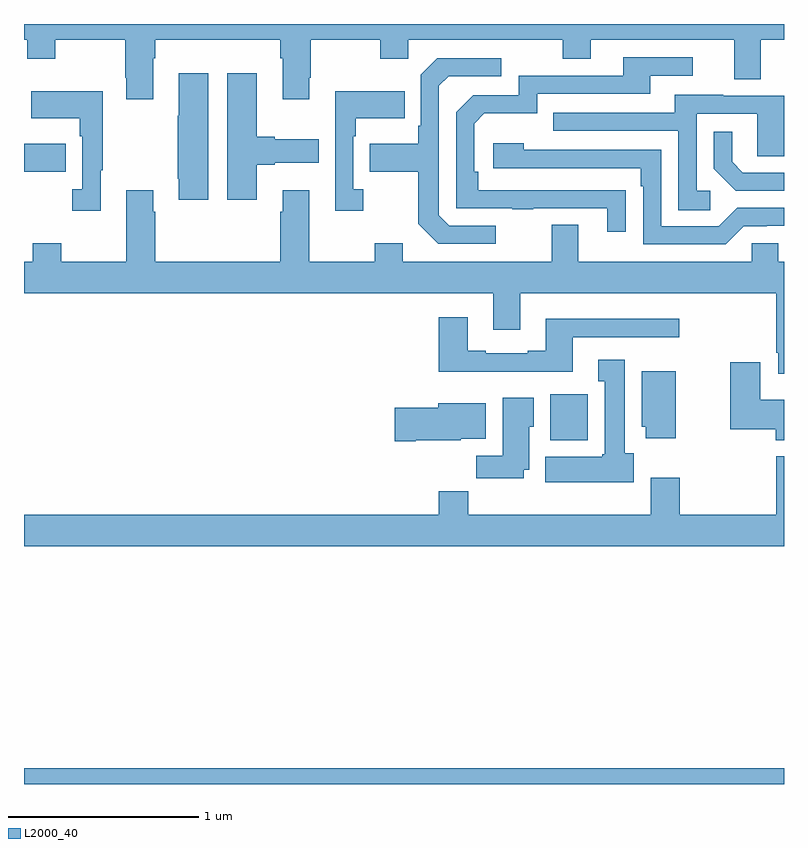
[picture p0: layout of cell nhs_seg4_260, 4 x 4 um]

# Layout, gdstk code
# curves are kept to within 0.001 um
import gdstk
lib = gdstk.Library(unit=1e-6, precision=1e-09)
def R(c, l, rs):  # rectangles x0, y0, x1, y1
    for r in rs: c.add(gdstk.rectangle(r[:2], r[2:], *l))
def P(c, l, *ps):  # polygons
    for p in ps: c.add(gdstk.Polygon(p, *l))
L2000_40 = (2000, 40)

nhs_seg4_260 = lib.new_cell('nhs_seg4_260')
R(nhs_seg4_260, L2000_40, [(123,796.9,127,796.984), (125.771,798.71,125.968,798.952), (123,800.122,123.221,800.269)])
P(nhs_seg4_260, L2000_40, [(123.679,800.72),(123.692,800.72),(123.692,800.816),(124.349,800.816),(124.349,800.72),(124.361,800.72),(124.361,800.505),(124.501,800.505),(124.501,800.617),(124.509,800.617),(124.509,800.816),(124.876,800.816),(124.876,800.717),(125.022,800.717),(125.022,800.816),(125.836,800.816),(125.836,800.717),(125.983,800.717),(125.983,800.816),(126.737,800.816),(126.737,800.608),(126.877,800.608),(126.877,800.816),(127,800.816),(127,800.9),(123,800.9),(123,800.816),(123.018,800.816),(123.018,800.717),(123.165,800.717),(123.165,800.816),(123.532,800.816),(123.532,800.617),(123.539,800.617),(123.539,800.505),(123.679,800.505)],
  [(126.167,800.024),(125.39,800.025),(125.39,800.122),(125.37,800.122),(125.37,800.376),(125.423,800.429),(125.7,800.429),(125.7,800.532),(126.295,800.532),(126.295,800.628),(126.52,800.628),(126.52,800.724),(126.155,800.724),(126.155,800.628),(125.604,800.628),(125.604,800.526),(125.364,800.526),(125.274,800.436),(125.274,799.929),(125.569,799.929),(125.569,799.924),(125.681,799.924),(125.681,799.929),(126.071,799.929),(126.071,799.806),(126.167,799.806)],
  [(125.482,799.839),(125.238,799.839),(125.184,799.893),(125.184,800.574),(125.235,800.625),(125.512,800.625),(125.512,800.721),(125.175,800.721),(125.088,800.634),(125.088,800.365),(125.076,800.365),(125.076,800.269),(124.819,800.269),(124.819,800.122),(125.076,800.122),(125.076,799.849),(125.181,799.743),(125.482,799.743)],
  [(124.225,800.159),(124.321,800.159),(124.321,800.171),(124.552,800.171),(124.552,800.293),(124.321,800.293),(124.321,800.306),(124.225,800.306),(124.225,800.641),(124.07,800.641),(124.07,799.974),(124.225,799.974)],
  [(123.97,800.641),(123.815,800.641),(123.815,800.417),(123.808,800.417),(123.808,800.086),(123.815,800.086),(123.815,799.974),(123.97,799.974)],
  [(123.403,800.129),(123.415,800.129),(123.415,800.545),(123.037,800.545),(123.037,800.405),(123.294,800.405),(123.294,800.309),(123.306,800.309),(123.306,800.03),(123.255,800.03),(123.255,799.917),(123.403,799.917)],
  [(124.786,800.03),(124.734,800.03),(124.734,800.309),(124.747,800.309),(124.747,800.405),(125.003,800.405),(125.003,800.545),(124.638,800.545),(124.638,799.917),(124.786,799.917)],
  [(126.613,800.022),(126.54,800.022),(126.54,800.427),(126.858,800.427),(126.858,800.203),(127,800.203),(127,800.523),(126.679,800.523),(126.679,800.527),(126.425,800.527),(126.425,800.433),(125.785,800.433),(125.785,800.337),(126.444,800.337),(126.444,799.921),(126.613,799.921)],
  [(127,800.118),(126.784,800.118),(126.727,800.175),(126.727,800.332),(126.63,800.332),(126.63,800.138),(126.746,800.022),(127,800.022)],
  [(126.789,799.836),(126.908,799.836),(126.908,799.839),(127,799.839),(127,799.932),(126.753,799.932),(126.657,799.836),(126.354,799.836),(126.354,800.238),(125.63,800.238),(125.63,800.272),(125.469,800.272),(125.469,800.142),(126.245,800.142),(126.245,800.045),(126.258,800.045),(126.258,799.74),(126.693,799.74)],
  [(127,799.648),(126.969,799.648),(126.969,799.746),(126.831,799.746),(126.831,799.648),(125.917,799.648),(125.917,799.843),(125.777,799.843),(125.777,799.648),(124.993,799.648),(124.993,799.747),(124.846,799.747),(124.846,799.648),(124.501,799.648),(124.501,800.026),(124.361,800.026),(124.361,799.913),(124.349,799.913),(124.349,799.648),(123.692,799.648),(123.692,799.913),(123.679,799.913),(123.679,800.026),(123.539,800.026),(123.539,799.648),(123.195,799.648),(123.195,799.747),(123.047,799.747),(123.047,799.648),(123,799.648),(123,799.484),(125.471,799.484),(125.471,799.29),(125.611,799.29),(125.611,799.484),(126.959,799.484),(126.959,799.171),(126.971,799.171),(126.971,799.059),(127,799.059)],
  [(125.887,799.251),(126.448,799.251),(126.448,799.348),(125.747,799.348),(125.747,799.18),(125.651,799.18),(125.651,799.167),(125.431,799.167),(125.431,799.18),(125.335,799.18),(125.335,799.357),(125.183,799.357),(125.183,799.07),(125.887,799.07)],
  [(126.208,798.642),(126.163,798.642),(126.163,799.132),(126.023,799.132),(126.023,799.019),(126.056,799.019),(126.056,798.636),(126.043,798.636),(126.043,798.622),(125.744,798.622),(125.744,798.488),(126.208,798.488)],
  [(127,798.922),(126.874,798.922),(126.874,799.12),(126.716,799.12),(126.716,798.767),(126.956,798.767),(126.956,798.71),(127,798.71)],
  [(126.43,799.072),(126.251,799.072),(126.251,798.78),(126.272,798.78),(126.272,798.72),(126.43,798.72)],
  [(125.629,798.554),(125.659,798.554),(125.659,798.78),(125.683,798.78),(125.683,798.934),(125.519,798.934),(125.519,798.628),(125.38,798.628),(125.38,798.51),(125.629,798.51)],
  [(125.062,798.71),(125.298,798.71),(125.298,798.716),(125.431,798.716),(125.431,798.904),(125.18,798.904),(125.18,798.881),(124.95,798.881),(124.95,798.703),(125.062,798.703)],
  [(127,798.625),(126.959,798.625),(126.959,798.316),(126.452,798.316),(126.452,798.511),(126.299,798.511),(126.299,798.316),(125.339,798.316),(125.339,798.44),(125.183,798.44),(125.183,798.316),(123,798.316),(123,798.152),(127,798.152)])

lib.write_gds('nhs_seg4_260.gds')
